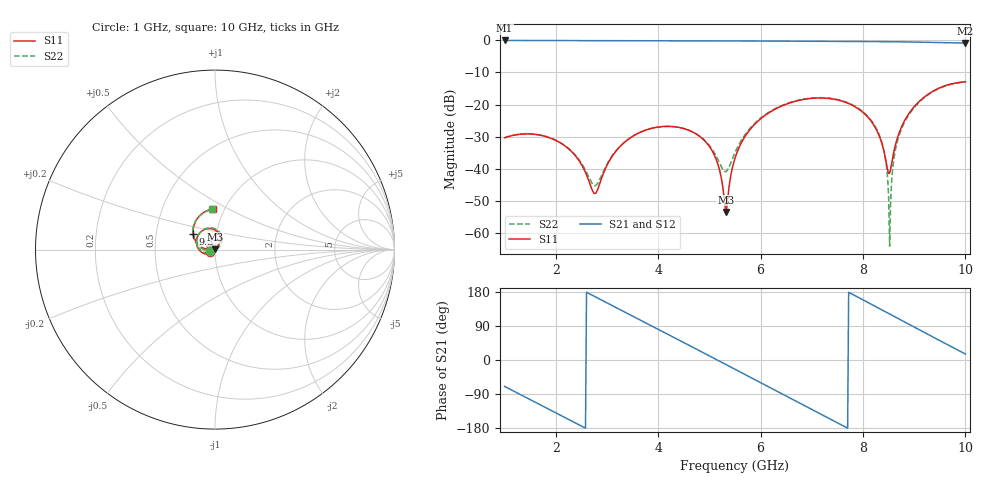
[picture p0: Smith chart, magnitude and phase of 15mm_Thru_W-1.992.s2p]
! Touchstone file exported from HFSS 2018.2.0
!  File:  C:/Users/10024/OneDrive - The University of Nottingham Ningbo China/Year 4/Final Year Project/HFSS project/Patch-1.aedt
!  Generated:  4:45:42 下午  3月 10, 2022
!  Design:  SMA_workbench
!  Project:  Patch-1
!  Setup:  Setup1
!  Solution:  Sweep
! Variables:
!  MW = 1.992mm
!  ThruL = 15mm
!  g = 0.2mm
!  subH = 0.8mm
!  subX = 20mm
!  subY = 25mm
# GHZ S MA R 50.000000
! Modal data exported
! Port[1] = SMA_CONNECTOR1_1:1
! Port[2] = SMA_CONNECTOR2_1:1
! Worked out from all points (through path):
!   451 points, 1 GHz to 10 GHz, reference 50 ohm
!   highest |S21| = -0.02 dB at 1 GHz (marker M1); lowest = -0.8 dB at 10 GHz (marker M2)
!   group delay of S21, straight-line fit = 196 ps
!   lowest |S11| = -53.5 dB at 5.32 GHz (marker M3), VSWR 1.00, Z = 49.8 + j0.0879 ohm
!   |S11| at or under -10 dB: start of sweep to end of sweep
!   |S22| runs from -64.1 to -13.0 dB; largest |S21 - S12| = 2.3e-14
!   S11 on the Smith chart (normalised r, x): 1 GHz: 0.94, -0.02; 9.3 GHz: 0.77, +0.14; 10 GHz: 0.88, +0.42
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1  0.03042 -158.6  0.9977 -69.7  0.9977 -69.7  0.03041 -159.7
! Gamma ! 0.0151858380091214 30.3716836112087 0.0151858380091398 30.3716836111935
! Port Impedance50 0 50 0
1.68  0.03361 154.7  0.9953 -117.1  0.9953 -117.1  0.03363 156.0
2.5  0.01169 113.0  0.9921 -174.3  0.9921 -174.3  0.01221 119.6
2.78  0.004173 174.3  0.991 166.2  0.991 166.2  0.005495 172.5
3.26  0.02249 -149.1  0.9888 132.7  0.9888 132.7  0.02263 -150.3
4  0.04473 165.3  0.9857 81.0  0.9857 81.0  0.04464 167.7
4.94  0.02556 104.2  0.9835 15.1  0.9835 15.1  0.02617 116.5
5.16  0.01217 94.3  0.983 -0.4  0.983 -0.4  0.01428 120.8
5.32  0.002119 155.4  0.9825 -11.7  0.9825 -11.7  0.009033 164.8
5.5  0.0146 -127.6  0.9816 -24.4  0.9816 -24.4  0.01782 -151.9
5.78  0.03964 -142.1  0.9797 -44.2  0.9797 -44.2  0.04153 -153.4
6.26  0.08295 -174.3  0.9746 -78.2  0.9746 -78.2  0.08443 179.5
7  0.1251 134.4  0.9655 -130.4  0.9655 -130.4  0.1266 129.9
7.6  0.1126 92.8  0.9614 -172.8  0.9614 -172.8  0.1144 87.8
8.16  0.05511 58.0  0.959 147.3  0.959 147.3  0.05671 48.2
8.4  0.0201 57.1  0.9565 130.0  0.9565 130.0  0.02056 30.7
8.5  0.008474 105.0  0.9549 122.8  0.9549 122.8  0.003889 18.2
8.54  0.009897 145.6  0.9542 119.9  0.9542 119.9  0.003092 -149.2
8.62  0.0213 174.3  0.9526 114.1  0.9526 114.1  0.01728 -161.9
8.74  0.04266 177.5  0.9499 105.5  0.9499 105.5  0.03945 -171.3
9.3  0.15 143.8  0.9316 65.3  0.9316 65.3  0.147 146.3
10  0.2266 93.0  0.9086 15.9  0.9086 15.9  0.225 93.8
